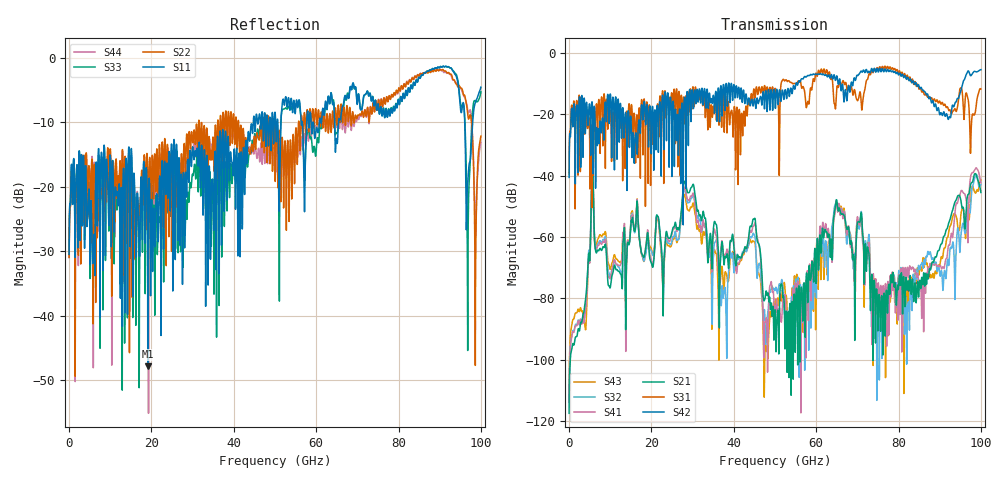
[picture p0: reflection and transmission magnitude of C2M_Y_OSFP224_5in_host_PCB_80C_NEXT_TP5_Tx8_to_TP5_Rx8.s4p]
# GHz S RI R 45
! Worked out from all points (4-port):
!   4000 points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, 25 MHz to 100 GHz, reference 45 ohm
!   strongest paths, dB at 25 MHz, 25.02 GHz, 50.02 GHz, 75.03 GHz, 100 GHz:
!     S42: -40.6, -25.4, -16.1, -6.0, -5.4
!     S31: -39.4, -13.8, -11.5, -5.4, -11.7
!     S21: -117.5, -58.1, -83.7, -90.6, -45.5
!     S41: -114.0, -59.0, -82.5, -75.2, -42.3
!     S32: -113.6, -61.0, -77.4, -79.4, -42.9
!     S43: -110.5, -61.9, -80.9, -84.9, -41.4
!   lowest |S11| = -47.9 dB at 19.12 GHz (marker M1), VSWR 1.01, Z = 45.3 + j0.14 ohm
!   |S11| at or under -10 dB: start of sweep to 44.74 GHz; 59.32 GHz to 60.78 GHz (1.455 GHz wide, 2.42 % of centre); 96.08 GHz to 98.01 GHz (1.929 GHz wide, 1.99 % of centre) (the widest 3 of 19)
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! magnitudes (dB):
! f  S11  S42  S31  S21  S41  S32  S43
! 25 MHz  -30.5  -40.6  -39.4  -117.5  -114.0  -113.6  -110.5
! 5.7 GHz  -31.1  -18.0  -30.6  -40.1  -40.1  -40.0  -40.0
! 19.12 GHz  -47.9  -19.9  -23.8  -58.7  -57.8  -60.2  -59.1
! 56.7 GHz  -10.4  -8.4  -11.1  -85.0  -79.6  -78.7  -81.5
! 65.2 GHz  -12.8  -8.7  -10.7  -50.2  -51.8  -50.8  -50.8
! 85.7 GHz  -2.6  -11.8  -12.7  -73.2  -81.7  -68.3  -70.7
! 100 GHz  -4.6  -5.4  -11.7  -45.5  -42.3  -42.9  -41.4
